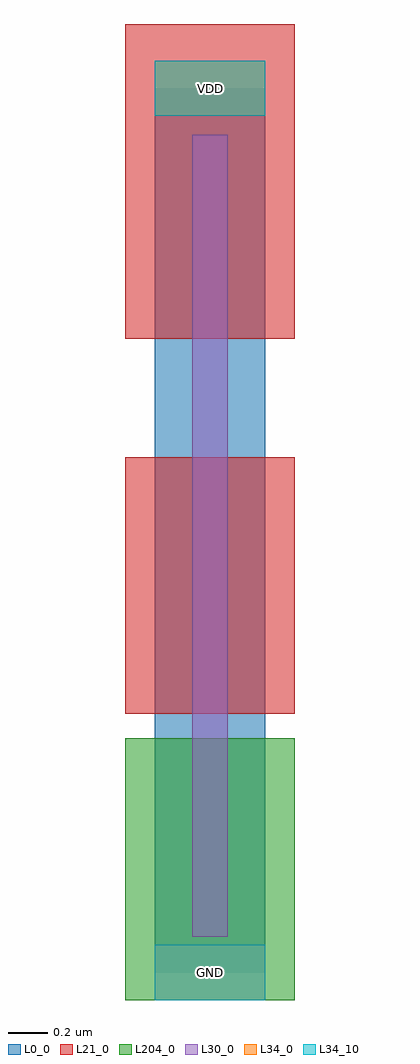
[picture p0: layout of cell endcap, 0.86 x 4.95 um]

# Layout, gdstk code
import gdstk
lib = gdstk.Library(unit=1e-6, precision=1e-09)
def R(c, l, rs):  # rectangles x0, y0, x1, y1
    for r in rs: c.add(gdstk.rectangle(r[:2], r[2:], *l))
L0_0 = (0, 0)
L21_0 = (21, 0)
L30_0 = (30, 0)
L34_0 = (34, 0)
L34_10 = (34, 10)
L204_0 = (204, 0)

endcap = lib.new_cell('endcap')
R(endcap, L0_0, [(0,0,0.56,4.48)])
R(endcap, L21_0, [(-0.15,1.31,0.71,2.61), (-0.15,3.21,0.71,4.805)])
R(endcap, L30_0, [(0.19,0.18,0.37,4.245)])
R(endcap, L34_0, [(0,-0.14,0.56,0.14), (0,4.34,0.56,4.62)])
R(endcap, L34_10, [(0,-0.14,0.56,0.14), (0,4.34,0.56,4.62)])
R(endcap, L204_0, [(-0.15,-0.14,0.71,1.185)])
endcap.add(gdstk.Label('GND', (0.28,0), layer=34, texttype=10))
endcap.add(gdstk.Label('VDD', (0.28,4.48), layer=34, texttype=10))

lib.write_gds('endcap.gds')
